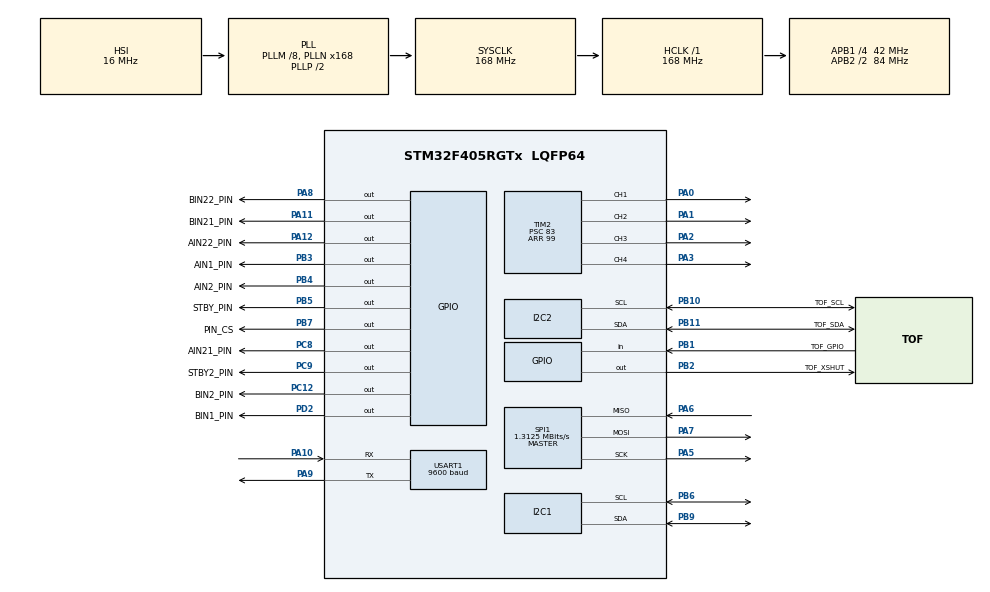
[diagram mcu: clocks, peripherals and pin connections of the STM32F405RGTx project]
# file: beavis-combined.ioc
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Dma.Request0=USART1_RX
Dma.Request1=USART1_TX
Dma.USART1_RX.0.Direction=DMA_PERIPH_TO_MEMORY
Dma.USART1_RX.0.FIFOMode=DMA_FIFOMODE_DISABLE
Dma.USART1_RX.0.Instance=DMA2_Stream2
Dma.USART1_RX.0.MemDataAlignment=DMA_MDATAALIGN_BYTE
Dma.USART1_RX.0.MemInc=DMA_MINC_ENABLE
Dma.USART1_RX.0.Mode=DMA_NORMAL
Dma.USART1_RX.0.PeriphDataAlignment=DMA_PDATAALIGN_BYTE
Dma.USART1_RX.0.PeriphInc=DMA_PINC_DISABLE
Dma.USART1_RX.0.Priority=DMA_PRIORITY_LOW
Dma.USART1_TX.1.Direction=DMA_MEMORY_TO_PERIPH
Dma.USART1_TX.1.FIFOMode=DMA_FIFOMODE_DISABLE
Dma.USART1_TX.1.Instance=DMA2_Stream7
Dma.USART1_TX.1.MemDataAlignment=DMA_MDATAALIGN_BYTE
Dma.USART1_TX.1.MemInc=DMA_MINC_ENABLE
Dma.USART1_TX.1.Mode=DMA_NORMAL
Dma.USART1_TX.1.PeriphDataAlignment=DMA_PDATAALIGN_BYTE
Dma.USART1_TX.1.PeriphInc=DMA_PINC_DISABLE
Dma.USART1_TX.1.Priority=DMA_PRIORITY_LOW
FREERTOS.Tasks01=defaultTask,24,128,StartDefaultTask,Default,NULL,Dynamic,NULL,NULL
Mcu.Family=STM32F4
Mcu.Name=STM32F405RGTx
Mcu.Package=LQFP64
NVIC.DMA2_Stream2_IRQn=true\:5\:0\:false\:false\:true\:true\:false\:true\:true
NVIC.DMA2_Stream7_IRQn=true\:5\:0\:false\:false\:true\:true\:false\:true\:true
NVIC.PriorityGroup=NVIC_PRIORITYGROUP_4
NVIC.TIM4_IRQn=true\:15\:0\:false\:false\:true\:false\:false\:true\:true
NVIC.TimeBase=TIM4_IRQn
NVIC.TimeBaseIP=TIM4
NVIC.USART1_IRQn=true\:5\:0\:false\:false\:true\:true\:true\:true\:true
PA0-WKUP.Signal=S_TIM2_CH1_ETR
PA1.Signal=S_TIM2_CH2
PA10.Mode=Asynchronous
PA10.Signal=USART1_RX
PA11.GPIO_Label=BIN21_PIN
PA11.Signal=GPIO_Output
PA12.GPIO_Label=AIN22_PIN
PA12.Signal=GPIO_Output
PA13.Mode=Serial_Wire
PA13.Signal=SYS_JTMS-SWDIO
PA14.Mode=Serial_Wire
PA14.Signal=SYS_JTCK-SWCLK
PA2.Signal=S_TIM2_CH3
PA3.Signal=S_TIM2_CH4
PA5.Mode=Full_Duplex_Master
PA5.Signal=SPI1_SCK
PA6.Mode=Full_Duplex_Master
PA6.Signal=SPI1_MISO
PA7.Mode=Full_Duplex_Master
PA7.Signal=SPI1_MOSI
PA8.GPIO_Label=BIN22_PIN
PA8.Signal=GPIO_Output
PA9.Mode=Asynchronous
PA9.Signal=USART1_TX
PB1.GPIO_Label=TOF_GPIO
PB1.Signal=GPIO_Input
PB10.GPIO_Label=TOF_SCL
PB10.Mode=I2C
PB10.Signal=I2C2_SCL
PB11.GPIO_Label=TOF_SDA
PB11.Mode=I2C
PB11.Signal=I2C2_SDA
PB2.GPIO_Label=TOF_XSHUT
PB2.Signal=GPIO_Output
PB3.GPIO_Label=AIN1_PIN
PB3.Signal=GPIO_Output
PB4.GPIO_Label=AIN2_PIN
PB4.Signal=GPIO_Output
PB5.GPIO_Label=STBY_PIN
PB5.Signal=GPIO_Output
PB6.Mode=I2C
PB6.Signal=I2C1_SCL
PB7.GPIO_Label=PIN_CS
PB7.Signal=GPIO_Output
PB9.Mode=I2C
PB9.Signal=I2C1_SDA
PC12.GPIO_Label=BIN2_PIN
PC12.Signal=GPIO_Output
PC8.GPIO_Label=AIN21_PIN
PC8.Signal=GPIO_Output
PC9.GPIO_Label=STBY2_PIN
PC9.Signal=GPIO_Output
PD2.GPIO_Label=BIN1_PIN
PD2.Signal=GPIO_Output
PH0-OSC_IN.Mode=HSE-External-Oscillator
PH0-OSC_IN.Signal=RCC_OSC_IN
PH1-OSC_OUT.Mode=HSE-External-Oscillator
PH1-OSC_OUT.Signal=RCC_OSC_OUT
ProjectManager.HeapSize=0x800
ProjectManager.StackSize=0x800
ProjectManager.TargetToolchain=MDK-ARM V5.32
RCC.48MHZClocksFreq_Value=84000000
RCC.AHBFreq_Value=168000000
RCC.APB1CLKDivider=RCC_HCLK_DIV4
RCC.APB1Freq_Value=42000000
RCC.APB1TimFreq_Value=84000000
RCC.APB2CLKDivider=RCC_HCLK_DIV2
RCC.APB2Freq_Value=84000000
RCC.APB2TimFreq_Value=168000000
RCC.CortexFreq_Value=168000000
RCC.HCLKFreq_Value=168000000
RCC.HSE_VALUE=25000000
RCC.HSI_VALUE=16000000
RCC.LSE_VALUE=32768
RCC.PLLM=8
RCC.PLLN=168
RCC.SYSCLKFreq_VALUE=168000000
RCC.SYSCLKSource=RCC_SYSCLKSOURCE_PLLCLK
RCC.VCOOutputFreq_Value=336000000
SH.S_TIM2_CH1_ETR.0=TIM2_CH1,PWM Generation1 CH1
SH.S_TIM2_CH2.0=TIM2_CH2,PWM Generation2 CH2
SH.S_TIM2_CH3.0=TIM2_CH3,PWM Generation3 CH3
SH.S_TIM2_CH4.0=TIM2_CH4,PWM Generation4 CH4
SPI1.BaudRatePrescaler=SPI_BAUDRATEPRESCALER_64
SPI1.CalculateBaudRate=1.3125 MBits/s
SPI1.Direction=SPI_DIRECTION_2LINES
SPI1.Mode=SPI_MODE_MASTER
SPI1.VirtualType=VM_MASTER
STMicroelectronics.X-CUBE-AI.9.1.0.HeapSize=0x800
STMicroelectronics.X-CUBE-AI.9.1.0.ReadyForCodeGeneration=false
STMicroelectronics.X-CUBE-AI.9.1.0.StackSize=0x800
TIM2.Channel-PWM\ Generation1\ CH1=TIM_CHANNEL_1
TIM2.Channel-PWM\ Generation2\ CH2=TIM_CHANNEL_2
TIM2.Channel-PWM\ Generation3\ CH3=TIM_CHANNEL_3
TIM2.Channel-PWM\ Generation4\ CH4=TIM_CHANNEL_4
TIM2.Period=99
TIM2.Prescaler=83
USART1.BaudRate=9600
USART1.VirtualMode=VM_ASYNC
VP_FREERTOS_VS_CMSIS_V2.Mode=CMSIS_V2
VP_SYS_VS_tim4.Mode=TIM4
VP_TIM2_VS_ClockSourceINT.Mode=Internal
board=custom

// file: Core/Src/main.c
/* USER CODE BEGIN Header */
/**
 ******************************************************************************
 * @file           : main.c
 * @brief          : Main program body
 ******************************************************************************
 * @attention
 *
 * Copyright (c) 2024 STMicroelectronics.
 * All rights reserved.
 *
 * This software is licensed under terms that can be found in the LICENSE file
 * in the root directory of this software component.
 * If no LICENSE file comes with this software, it is provided AS-IS.
 *
 ******************************************************************************
 */
/* USER CODE END Header */
#include "main.h"
#include "cmsis_os.h"
#include "dma.h"
#include "i2c.h"
#include "spi.h"
#include "tim.h"
#include "usart.h"
#include "gpio.h"

/* USER CODE BEGIN PV */
uint8_t error = 0; // Check PMW3901
uint8_t Sprintmessage[512] = {'\0'};
uint8_t receivedata[2];
SemaphoreHandle_t xSemaphorePMW3901, xSemaphoreBMI088, xSemaphoreControl, xSemaphoreVL53;
/* USER CODE END PV */

void SystemClock_Config(void);
void MX_FREERTOS_Init(void);

int main(void)
{

  /* MCU Configuration--------------------------------------------------------*/

  /* Reset of all peripherals, Initializes the Flash interface and the Systick. */
  HAL_Init();

  /* Configure the system clock */
  SystemClock_Config();

  /* Initialize all configured peripherals */
  MX_GPIO_Init();
  MX_DMA_Init();
  MX_I2C1_Init();
  MX_I2C2_Init();
  MX_SPI1_Init();
  MX_TIM2_Init();
  MX_USART1_UART_Init();
  /* USER CODE BEGIN 2 */
  HAL_TIM_PWM_Start(&htim2, TIM_CHANNEL_1);
  HAL_TIM_PWM_Start(&htim2, TIM_CHANNEL_2);
  HAL_TIM_PWM_Start(&htim2, TIM_CHANNEL_3);
  HAL_TIM_PWM_Start(&htim2, TIM_CHANNEL_4);
  HAL_GPIO_WritePin(STBY_PIN_GPIO_Port, STBY_PIN_Pin, GPIO_PIN_RESET);
  HAL_GPIO_WritePin(STBY2_PIN_GPIO_Port, STBY2_PIN_Pin, GPIO_PIN_RESET);

  // HAL_UART_Receive_IT(&huart1,receivedata,sizeof(receivedata));

  // sprintf(Sprintmessage,"中断已经打开");
  // HAL_UART_Transmit_IT(&huart1,(uint8_t *)Sprintmessage,sizeof(Sprintmessage));
  // HAL_Delay(1000);

  uint8_t count;
  // initialize BMI800------------------
  bmi088_starting();
  count = 0;
  while (1)
  {
    sprintf(Sprintmessage, "bmi088 initialized");
    HAL_UART_Transmit(&huart1, Sprintmessage, strlen(Sprintmessage), 1000);
    HAL_Delay(500);
    if (count++ > 2)
      break;
  }

  // nitialize PMW3901-----------------
  error = PMW3901_init();
  if (error)
  {
    count = 0;
    while (1)
    {
      sprintf(Sprintmessage, "pmw3901 initialized failed");
      HAL_UART_Transmit(&huart1, Sprintmessage, strlen(Sprintmessage), 1000);
      HAL_Delay(500);
    }
  }
  else
  {
    count = 0;
    sprintf(Sprintmessage, "pmw3901 initialized");
    HAL_UART_Transmit(&huart1, Sprintmessage, strlen(Sprintmessage), 1000);
    HAL_Delay(500);
  }

  // Initialize VL53L1X-----------------
  if (VL53L1__Init())
  {
    while (1);
  }
  else
  {
    sprintf(Sprintmessage, "VL53L1 initialized");
    HAL_UART_Transmit(&huart1, Sprintmessage, strlen(Sprintmessage), 1000);
    HAL_Delay(500);
  }
  if (VL53L1X_StartRanging(VL53L1__ADDR))
  {
    while (1);
  }
  else
  {
    sprintf(Sprintmessage, "VL53L1 Start Ranging");
    HAL_UART_Transmit(&huart1, Sprintmessage, strlen(Sprintmessage), 1000);
    HAL_Delay(500);
  }

  sprintf(Sprintmessage, "Motors Initializing");
  HAL_UART_Transmit(&huart1, Sprintmessage, strlen(Sprintmessage), 1000);
  HAL_Delay(500);
    // Initialize Motors------------------
  Motor_Init();
  // init_pid_controllers();
  initSemaphores();

  sprintf(Sprintmessage, "Motors and Semaphore Initialized");
  HAL_UART_Transmit(&huart1, Sprintmessage, strlen(Sprintmessage), 1000);
  /* USER CODE END 2 */

  /* Init scheduler */
  osKernelInitialize();

  /* Call init function for freertos objects (in cmsis_os2.c) */
  MX_FREERTOS_Init();

  /* Start scheduler */
  osKernelStart();

  /* We should never get here as control is now taken by the scheduler */

  /* Infinite loop */
  /* USER CODE BEGIN WHILE */
  while (1)
  {
    // HAL_UART_Transmit(&huart1,receivedata,2,HAL_MAX_DELAY);
    // HAL_UART_Receive(&huart1,receivedata,2,HAL_MAX_DELAY);

    /* USER CODE END WHILE */

  }
}

void SystemClock_Config(void)
{
  RCC_OscInitTypeDef RCC_OscInitStruct = {0};
  RCC_ClkInitTypeDef RCC_ClkInitStruct = {0};

  /** Configure the main internal regulator output voltage
  */
  __HAL_RCC_PWR_CLK_ENABLE();
  __HAL_PWR_VOLTAGESCALING_CONFIG(PWR_REGULATOR_VOLTAGE_SCALE1);

  /** Initializes the RCC Oscillators according to the specified parameters
  * in the RCC_OscInitTypeDef structure.
  */
  RCC_OscInitStruct.OscillatorType = RCC_OSCILLATORTYPE_HSI;
  RCC_OscInitStruct.HSIState = RCC_HSI_ON;
  RCC_OscInitStruct.HSICalibrationValue = RCC_HSICALIBRATION_DEFAULT;
  RCC_OscInitStruct.PLL.PLLState = RCC_PLL_ON;
  RCC_OscInitStruct.PLL.PLLSource = RCC_PLLSOURCE_HSI;
  RCC_OscInitStruct.PLL.PLLM = 8;
  RCC_OscInitStruct.PLL.PLLN = 168;
  RCC_OscInitStruct.PLL.PLLP = RCC_PLLP_DIV2;
  RCC_OscInitStruct.PLL.PLLQ = 4;
  if (HAL_RCC_OscConfig(&RCC_OscInitStruct) != HAL_OK)
  {
    Error_Handler();
  }

  /** Initializes the CPU, AHB and APB buses clocks
  */
  RCC_ClkInitStruct.ClockType = RCC_CLOCKTYPE_HCLK|RCC_CLOCKTYPE_SYSCLK
                              |RCC_CLOCKTYPE_PCLK1|RCC_CLOCKTYPE_PCLK2;
  RCC_ClkInitStruct.SYSCLKSource = RCC_SYSCLKSOURCE_PLLCLK;
  RCC_ClkInitStruct.AHBCLKDivider = RCC_SYSCLK_DIV1;
  RCC_ClkInitStruct.APB1CLKDivider = RCC_HCLK_DIV4;
  RCC_ClkInitStruct.APB2CLKDivider = RCC_HCLK_DIV2;

  if (HAL_RCC_ClockConfig(&RCC_ClkInitStruct, FLASH_LATENCY_5) != HAL_OK)
  {
    Error_Handler();
  }
}

void HAL_TIM_PeriodElapsedCallback(TIM_HandleTypeDef *htim)
{
  if (htim->Instance == TIM4) {
    HAL_IncTick();
  }
}

void Error_Handler(void)
{
  __disable_irq();
  while (1)
  {
  }
}

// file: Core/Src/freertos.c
/* USER CODE BEGIN Header */
/**
 ******************************************************************************
 * File Name          : freertos.c
 * Description        : Code for freertos applications
 ******************************************************************************
 * @attention
 *
 * Copyright (c) 2024 STMicroelectronics.
 * All rights reserved.
 *
 * This software is licensed under terms that can be found in the LICENSE file
 * in the root directory of this software component.
 * If no LICENSE file comes with this software, it is provided AS-IS.
 *
 ******************************************************************************
 */
/* USER CODE END Header */

#include "FreeRTOS.h"
#include "task.h"
#include "main.h"
#include "cmsis_os.h"

/* USER CODE BEGIN Includes */
#include "queueHandle.h"
#include "StableControl.h"
#include "semphr.h"
#include "pmw3901.h"
#include "bmi08x_defs.h"
/* USER CODE END Includes */

/* USER CODE BEGIN PD */
#define BUFFER_SIZE 8
/* USER CODE END PD */

/* USER CODE BEGIN Variables */
TaskHandle_t commandTaskHandle;
QueueHandle_t xQueuePMW3901;
QueueHandle_t xQueueACCE;
QueueHandle_t XQueueGYRO;
QueueHandle_t xQueueVL53;
static SemaphoreHandle_t g_xI2CMutex;
// SemaphoreHandle_t i2cMutex;
uint8_t Sprintmessage12[512] = {'\0'};
/* USER CODE END Variables */
/* Definitions for defaultTask */
osThreadId_t defaultTaskHandle;
const osThreadAttr_t defaultTask_attributes = {
  .name = "defaultTask",
  .stack_size = 128 * 4,
  .priority = (osPriority_t) osPriorityNormal,
};

/* USER CODE BEGIN FunctionPrototypes */
void GetI2C()
{
  xSemaphoreTake(g_xI2CMutex,portMAX_DELAY);
}
void PutI2C()
{
  xSemaphoreGive(g_xI2CMutex);
}
/* USER CODE END FunctionPrototypes */

void StartDefaultTask(void *argument);

void MX_FREERTOS_Init(void); /* (MISRA C 2004 rule 8.1) */

void MX_FREERTOS_Init(void) {
  /* USER CODE BEGIN Init */

  xQueuePMW3901 = xQueueCreate(10, 10);
  xQueueACCE = xQueueCreate(10, 12);
  XQueueGYRO = xQueueCreate(10, 12);
  xQueueVL53 = xQueueCreate(10, sizeof(int));
  g_xI2CMutex = xSemaphoreCreateMutex();
  /* USER CODE END Init */

  /* Create the thread(s) */
  /* creation of defaultTask */
  defaultTaskHandle = osThreadNew(StartDefaultTask, NULL, &defaultTask_attributes);

  /* USER CODE BEGIN RTOS_THREADS */
  xTaskCreate(TaskPMW3901, "PMW3901 Task", 400, NULL, osPriorityNormal, NULL);
  xTaskCreate(TaskBMI088, "BMI088 Task", 400, NULL, osPriorityNormal, NULL);
  xTaskCreate(TaskVL53, "VL53 Task", 400, NULL, osPriorityNormal, NULL);
  // xTaskCreate(uartReceiveTask, "UART Receive Task", 400, NULL, osPriorityNormal, NULL);
  // xTaskCreate(commandProcessTask, "Command Process Task", 400, NULL, osPriorityNormal, &commandTaskHandle);
  xTaskCreate(FLIGHTControl, "Flight Control", 400, NULL, osPriorityNormal, NULL);
  // xTaskCreate(uartReceiveTask, "UART Receive Task", 128, NULL, osPriorityNormal, NULL);
  /* add threads, ... */
  /* USER CODE END RTOS_THREADS */

}

void StartDefaultTask(void *argument)
{
  for (;;)
  {
    osDelay(1);
  }
}

/* USER CODE BEGIN Application */
// void TaskPMW3901(void *pvParameters)
// {
//   for (;;)
//   {
//     pmw3901_read();
//     vTaskDelay(pdMS_TO_TICKS(200));
//   }
// }
// void TaskBMI088(void *pvParameters)
// {
//   for (;;)
//   {
//     bmi088_read();
//     vTaskDelay(pdMS_TO_TICKS(200));
//   }
// }
// void TaskVL53(void *pvParameters)
// {
//   for (;;)
//   {
//     vl53_read();
//     vTaskDelay(pdMS_TO_TICKS(200));
//   }
// }

/* USER CODE END Application */
